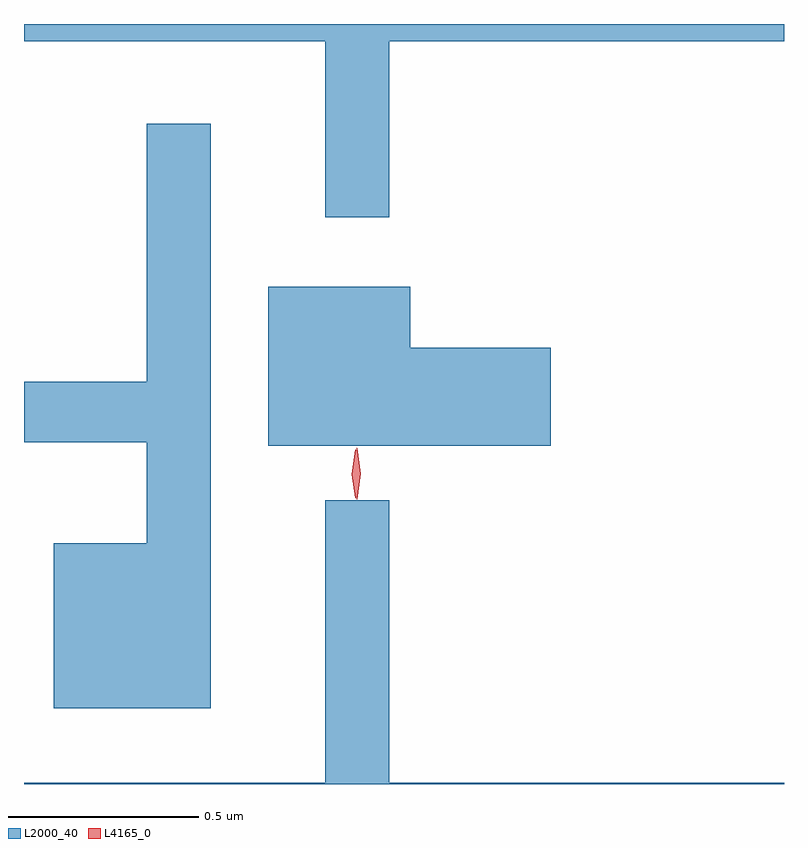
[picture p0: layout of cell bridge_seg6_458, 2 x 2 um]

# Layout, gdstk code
import gdstk
lib = gdstk.Library(unit=1e-6, precision=1e-09)
def P(c, l, *ps):  # polygons
    for p in ps: c.add(gdstk.Polygon(p, *l))
L2000_40 = (2000, 40)
L4165_0 = (4165, 0)

bridge_seg6_458 = lib.new_cell('bridge_seg6_458')
P(bridge_seg6_458, L2000_40, [(827.419,1654.376),(828.458,1654.376),(828.458,1654.421),(826.458,1654.421),(826.458,1654.376),(827.251,1654.376),(827.251,1653.913),(827.419,1653.913)],
  [(826.949,1654.158),(826.781,1654.158),(826.781,1653.479),(826.458,1653.479),(826.458,1653.321),(826.781,1653.321),(826.781,1653.054),(826.536,1653.054),(826.536,1652.621),(826.949,1652.621)],
  [(827.844,1653.569),(827.474,1653.569),(827.474,1653.729),(827.101,1653.729),(827.101,1653.311),(827.844,1653.311)],
  [(828.458,1652.424),(827.419,1652.424),(827.419,1653.168),(827.251,1653.168),(827.251,1652.424),(826.458,1652.424),(826.458,1652.421),(828.458,1652.421)])
P(bridge_seg6_458, L4165_0, [(827.334,1653.17),(827.325,1653.238),(827.334,1653.305),(827.334,1653.306),(827.335,1653.305),(827.344,1653.238),(827.335,1653.17),(827.335,1653.17)],
  [(827.331,1653.173),(827.33,1653.174),(827.321,1653.236),(827.33,1653.3),(827.33,1653.3),(827.331,1653.3),(827.341,1653.236),(827.331,1653.174)])

lib.write_gds('bridge_seg6_458.gds')
